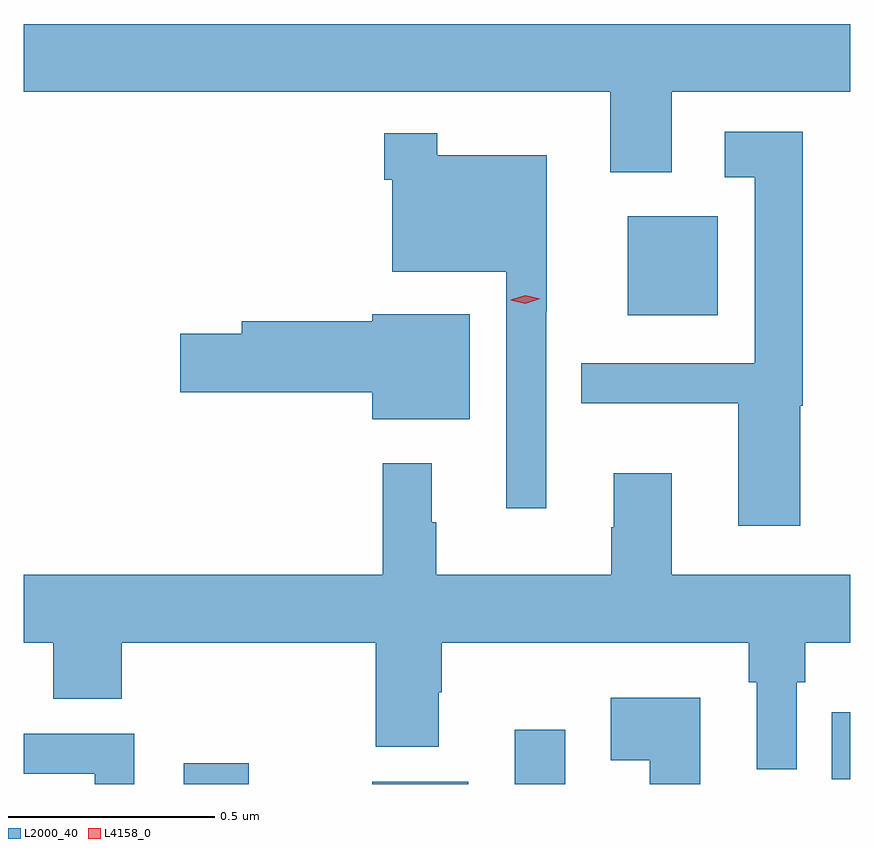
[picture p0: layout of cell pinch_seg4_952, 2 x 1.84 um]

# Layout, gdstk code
import gdstk
lib = gdstk.Library(unit=1e-6, precision=1e-09)
def R(c, l, rs):  # rectangles x0, y0, x1, y1
    for r in rs: c.add(gdstk.rectangle(r[:2], r[2:], *l))
def P(c, l, *ps):  # polygons
    for p in ps: c.add(gdstk.Polygon(p, *l))
L2000_40 = (2000, 40)
L4158_0 = (4158, 0)

pinch_seg4_952 = lib.new_cell('pinch_seg4_952')
R(pinch_seg4_952, L2000_40, [(682.826,803.138,682.984,803.188), (683.282,803.138,683.515,803.143), (683.627,803.138,683.749,803.269), (684.394,803.15,684.439,803.311), (683.9,804.272,684.118,804.511)])
P(pinch_seg4_952, L2000_40, [(684.007,804.812),(684.439,804.812),(684.439,804.976),(682.439,804.976),(682.439,804.812),(683.858,804.812),(683.858,804.618),(684.007,804.618)],
  [(684.317,804.053),(684.323,804.053),(684.323,804.715),(684.135,804.715),(684.135,804.605),(684.207,804.605),(684.207,804.156),(683.788,804.156),(683.788,804.059),(684.167,804.059),(684.167,803.763),(684.317,803.763)],
  [(683.703,804.281),(683.705,804.281),(683.705,804.658),(683.44,804.658),(683.44,804.712),(683.311,804.712),(683.311,804.599),(683.331,804.599),(683.331,804.377),(683.607,804.377),(683.607,803.805),(683.703,803.805)],
  [(683.518,804.274),(683.282,804.274),(683.282,804.257),(682.967,804.257),(682.967,804.227),(682.818,804.227),(682.818,804.085),(683.282,804.085),(683.282,804.02),(683.518,804.02)],
  [(684.007,803.89),(683.867,803.89),(683.867,803.759),(683.86,803.759),(683.86,803.644),(683.437,803.644),(683.437,803.771),(683.426,803.771),(683.426,803.914),(683.308,803.914),(683.308,803.644),(682.439,803.644),(682.439,803.48),(682.511,803.48),(682.511,803.344),(682.676,803.344),(682.676,803.48),(683.291,803.48),(683.291,803.228),(683.443,803.228),(683.443,803.36),(683.451,803.36),(683.451,803.48),(684.193,803.48),(684.193,803.384),(684.212,803.384),(684.212,803.174),(684.309,803.174),(684.309,803.384),(684.329,803.384),(684.329,803.48),(684.439,803.48),(684.439,803.644),(684.007,803.644)],
  [(684.076,803.347),(683.859,803.347),(683.859,803.195),(683.954,803.195),(683.954,803.138),(684.076,803.138)],
  [(682.707,803.259),(682.439,803.259),(682.439,803.163),(682.611,803.163),(682.611,803.138),(682.707,803.138)])
P(pinch_seg4_952, L4158_0, [(683.653,804.3),(683.617,804.308),(683.617,804.308),(683.617,804.309),(683.653,804.32),(683.689,804.311),(683.689,804.311),(683.689,804.311)])

lib.write_gds('pinch_seg4_952.gds')
